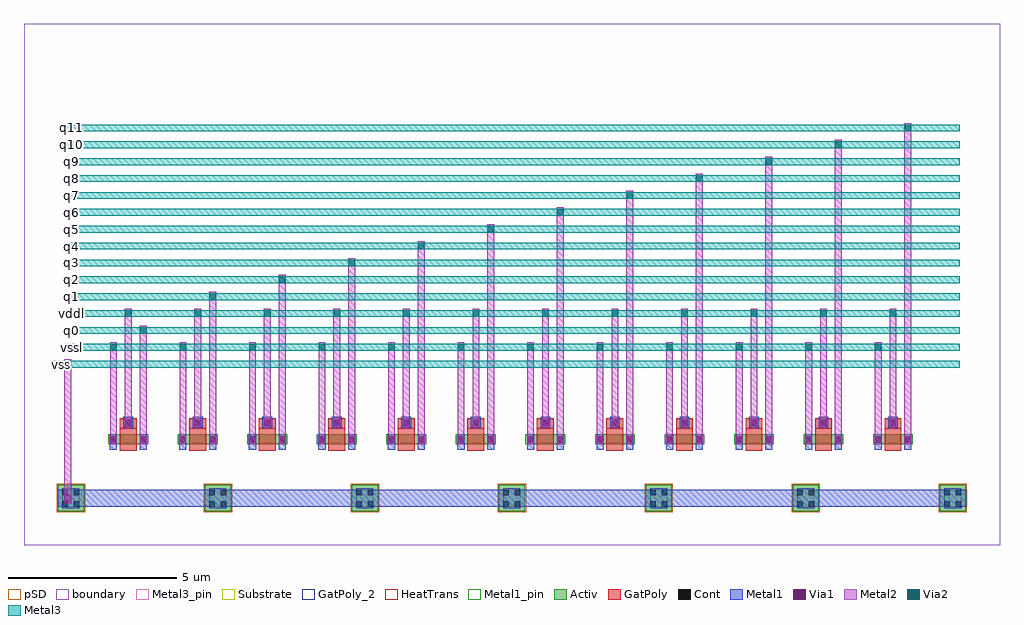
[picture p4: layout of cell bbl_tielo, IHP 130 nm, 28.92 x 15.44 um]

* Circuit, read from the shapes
.subckt bbl_tielo q0 q1 q10 q11 q2 q3 q4 q5 q6 q7 q8 q9 vddl vss vssl
XM1 q0 vddl vssl vss sg13_lv_nmos w=0.3u l=0.5u
XM2 q1 vddl vssl vss sg13_lv_nmos w=0.3u l=0.5u
XM3 q2 vddl vssl vss sg13_lv_nmos w=0.3u l=0.5u
XM4 q3 vddl vssl vss sg13_lv_nmos w=0.3u l=0.5u
XM5 q4 vddl vssl vss sg13_lv_nmos w=0.3u l=0.5u
XM6 q5 vddl vssl vss sg13_lv_nmos w=0.3u l=0.5u
XM7 q6 vddl vssl vss sg13_lv_nmos w=0.3u l=0.5u
XM8 q7 vddl vssl vss sg13_lv_nmos w=0.3u l=0.5u
XM9 q8 vddl vssl vss sg13_lv_nmos w=0.3u l=0.5u
XM10 q9 vddl vssl vss sg13_lv_nmos w=0.3u l=0.5u
XM11 q10 vddl vssl vss sg13_lv_nmos w=0.3u l=0.5u
XM12 q11 vddl vssl vss sg13_lv_nmos w=0.3u l=0.5u
.ends

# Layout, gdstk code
import gdstk
lib = gdstk.Library(unit=1e-6, precision=1e-09)
def R(c, l, rs):  # rectangles x0, y0, x1, y1
    for r in rs: c.add(gdstk.rectangle(r[:2], r[2:], *l))
def A(c, l, x, y, w, h, nx, ny, dx, dy):  # array of equal rectangles
    R(c, l, [(x+i*dx, y+j*dy, x+i*dx+w, y+j*dy+h) for i in range(nx) for j in range(ny)])
Activ = (1, 0)
GatPoly = (5, 0)
GatPoly_2 = (5, 2)
Cont = (6, 0)
Metal1 = (8, 0)
Metal1_pin = (8, 2)
Metal2 = (10, 0)
pSD = (14, 0)
Via1 = (19, 0)
Via2 = (29, 0)
Metal3 = (30, 0)
Metal3_pin = (30, 2)
Substrate = (40, 0)
HeatTrans = (51, 0)
boundary = (189, 4)

nmos = lib.new_cell('nmos')
R(nmos, Activ, [(0,0,0.3,0.3), (0,0,1.18,0.3), (0.88,0,1.18,0.3)])
R(nmos, GatPoly, [(0.34,-0.18,0.84,0.48)])
R(nmos, GatPoly_2, [(0.34,-0.18,0.84,0.48)])
R(nmos, Cont, [(0.07,0.07,0.23,0.23), (0.95,0.07,1.11,0.23)])
R(nmos, Metal1, [(0.07,0,0.23,0.3), (0.95,0,1.11,0.3)])
R(nmos, Metal1_pin, [(0.07,0,0.23,0.3), (0.95,0,1.11,0.3)])
R(nmos, HeatTrans, [(0.34,-0.18,0.84,0.48)])
nmos.add(gdstk.Label('nmos', (0.59,0.15), layer=63, texttype=0))
nmos.add(gdstk.Label('nmos', (0.59,0.15), layer=51, texttype=0))

ptap1 = lib.new_cell('ptap1')
R(ptap1, Activ, [(0,0,0.78,0.78)])
R(ptap1, Cont, [(0.14,0.14,0.3,0.3), (0.48,0.14,0.64,0.3), (0.14,0.48,0.3,0.64), (0.48,0.48,0.64,0.64)])
R(ptap1, Metal1, [(0.14,0.09,0.64,0.69), (0.14,0.14,0.64,0.64)])
R(ptap1, Metal1_pin, [(0.14,0.14,0.64,0.64)])
R(ptap1, pSD, [(-0.03,-0.03,0.81,0.81)])
R(ptap1, Substrate, [(0,0,0.78,0.78)])
ptap1.add(gdstk.Label('sub!', (0.39,0.01), layer=63, texttype=0))
ptap1.add(gdstk.Label('sub!', (0.39,0.01), layer=40, texttype=0))

bbl_tielo = lib.new_cell('bbl_tielo')
A(bbl_tielo, GatPoly, 1.84, 2.35, 0.5, 0.41, 12, 1, 2.06, 0)
A(bbl_tielo, Cont, 2.01, 2.53, 0.16, 0.16, 12, 1, 2.06, 0)
A(bbl_tielo, Metal1, 1.945, 2.48, 0.29, 0.32, 12, 1, 2.06, 0)
R(bbl_tielo, Metal1, [(0,0.14,26.92,0.64), (1.545,1.825,1.755,2.275), (2.425,1.825,2.635,2.275), (3.605,1.825,3.815,2.275), (4.485,1.825,4.695,2.275), (5.665,1.825,5.875,2.275), (6.545,1.825,6.755,2.275), (7.725,1.825,7.935,2.275), (8.605,1.825,8.815,2.275), (9.785,1.825,9.995,2.275), (10.665,1.825,10.875,2.275), (11.845,1.825,12.055,2.275), (12.725,1.825,12.935,2.275), (13.905,1.825,14.115,2.275), (14.785,1.825,14.995,2.275), (15.965,1.825,16.175,2.275), (16.845,1.825,17.055,2.275), (18.025,1.825,18.235,2.275), (18.905,1.825,19.115,2.275), (20.085,1.825,20.295,2.275), (20.965,1.825,21.175,2.275), (22.145,1.825,22.355,2.275), (23.025,1.825,23.235,2.275), (24.205,1.825,24.415,2.275), (25.085,1.825,25.295,2.275)])
A(bbl_tielo, Metal2, 1.55, 1.985, 0.2, 3.02, 12, 1, 2.06, 0)
A(bbl_tielo, Metal2, 1.99, 2.465, 0.2, 3.54, 12, 1, 2.06, 0)
R(bbl_tielo, Metal2, [(0.2,0.245,0.4,4.505), (2.43,1.985,2.63,5.505), (4.49,1.985,4.69,6.505), (6.55,1.985,6.75,7.005), (8.61,1.985,8.81,7.505), (10.67,1.985,10.87,8.005), (12.73,1.985,12.93,8.505), (14.79,1.985,14.99,9.005), (16.85,1.985,17.05,9.505), (18.91,1.985,19.11,10.005), (20.97,1.985,21.17,10.505), (23.03,1.985,23.23,11.005), (25.09,1.985,25.29,11.505)])
A(bbl_tielo, Via1, 1.995, 2.515, 0.19, 0.19, 12, 1, 2.06, 0)
R(bbl_tielo, Via1, [(0.205,0.295,0.395,0.485), (1.555,2.035,1.745,2.225), (2.435,2.035,2.625,2.225), (3.615,2.035,3.805,2.225), (4.495,2.035,4.685,2.225), (5.675,2.035,5.865,2.225), (6.555,2.035,6.745,2.225), (7.735,2.035,7.925,2.225), (8.615,2.035,8.805,2.225), (9.795,2.035,9.985,2.225), (10.675,2.035,10.865,2.225), (11.855,2.035,12.045,2.225), (12.735,2.035,12.925,2.225), (13.915,2.035,14.105,2.225), (14.795,2.035,14.985,2.225), (15.975,2.035,16.165,2.225), (16.855,2.035,17.045,2.225), (18.035,2.035,18.225,2.225), (18.915,2.035,19.105,2.225), (20.095,2.035,20.285,2.225), (20.975,2.035,21.165,2.225), (22.155,2.035,22.345,2.225), (23.035,2.035,23.225,2.225), (24.215,2.035,24.405,2.225), (25.095,2.035,25.285,2.225)])
A(bbl_tielo, Via2, 1.555, 4.765, 0.19, 0.19, 12, 1, 2.06, 0)
A(bbl_tielo, Via2, 1.995, 5.765, 0.19, 0.19, 12, 1, 2.06, 0)
R(bbl_tielo, Via2, [(0.205,4.265,0.395,4.455), (2.435,5.265,2.625,5.455), (4.495,6.265,4.685,6.455), (6.555,6.765,6.745,6.955), (8.615,7.265,8.805,7.455), (10.675,7.765,10.865,7.955), (12.735,8.265,12.925,8.455), (14.795,8.765,14.985,8.955), (16.855,9.265,17.045,9.455), (18.915,9.765,19.105,9.955), (20.975,10.265,21.165,10.455), (23.035,10.765,23.225,10.955), (25.095,11.265,25.285,11.455)])
A(bbl_tielo, Metal3, 0.2, 4.76, 26.52, 0.2, 1, 14, 0, 0.5)
R(bbl_tielo, Metal3, [(-0.1,4.26,26.72,4.46)])
A(bbl_tielo, Metal3_pin, 0.2, 4.76, 0.4, 0.2, 1, 14, 0, 0.5)
R(bbl_tielo, Metal3_pin, [(-0.1,4.26,0.3,4.46)])
R(bbl_tielo, boundary, [(-1,-1,27.92,14.44)])
bbl_tielo.add(gdstk.Reference(nmos, (1.5,1.98)))
bbl_tielo.add(gdstk.Reference(nmos, (3.56,1.98)))
bbl_tielo.add(gdstk.Reference(nmos, (5.62,1.98)))
bbl_tielo.add(gdstk.Reference(nmos, (7.68,1.98)))
bbl_tielo.add(gdstk.Reference(nmos, (9.74,1.98)))
bbl_tielo.add(gdstk.Reference(nmos, (11.8,1.98)))
bbl_tielo.add(gdstk.Reference(nmos, (13.86,1.98)))
bbl_tielo.add(gdstk.Reference(nmos, (15.92,1.98)))
bbl_tielo.add(gdstk.Reference(nmos, (17.98,1.98)))
bbl_tielo.add(gdstk.Reference(nmos, (20.04,1.98)))
bbl_tielo.add(gdstk.Reference(nmos, (22.1,1.98)))
bbl_tielo.add(gdstk.Reference(nmos, (24.16,1.98)))
bbl_tielo.add(gdstk.Reference(ptap1, (0,0)))
bbl_tielo.add(gdstk.Reference(ptap1, (4.355,0)))
bbl_tielo.add(gdstk.Reference(ptap1, (8.71,0)))
bbl_tielo.add(gdstk.Reference(ptap1, (13.065,0)))
bbl_tielo.add(gdstk.Reference(ptap1, (17.42,0)))
bbl_tielo.add(gdstk.Reference(ptap1, (21.775,0)))
bbl_tielo.add(gdstk.Reference(ptap1, (26.13,0)))
bbl_tielo.add(gdstk.Label('vssl', (0.4,4.86), layer=30, texttype=25))
bbl_tielo.add(gdstk.Label('q0', (0.4,5.36), layer=30, texttype=25))
bbl_tielo.add(gdstk.Label('vddl', (0.4,5.86), layer=30, texttype=25))
bbl_tielo.add(gdstk.Label('q1', (0.4,6.36), layer=30, texttype=25))
bbl_tielo.add(gdstk.Label('q2', (0.4,6.86), layer=30, texttype=25))
bbl_tielo.add(gdstk.Label('q3', (0.4,7.36), layer=30, texttype=25))
bbl_tielo.add(gdstk.Label('q4', (0.4,7.86), layer=30, texttype=25))
bbl_tielo.add(gdstk.Label('q5', (0.4,8.36), layer=30, texttype=25))
bbl_tielo.add(gdstk.Label('q6', (0.4,8.86), layer=30, texttype=25))
bbl_tielo.add(gdstk.Label('q7', (0.4,9.36), layer=30, texttype=25))
bbl_tielo.add(gdstk.Label('q8', (0.4,9.86), layer=30, texttype=25))
bbl_tielo.add(gdstk.Label('q9', (0.4,10.36), layer=30, texttype=25))
bbl_tielo.add(gdstk.Label('q10', (0.4,10.86), layer=30, texttype=25))
bbl_tielo.add(gdstk.Label('q11', (0.4,11.36), layer=30, texttype=25))
bbl_tielo.add(gdstk.Label('vss', (0.1,4.36), layer=30, texttype=25))

lib.write_gds('bbl_tielo.gds')
